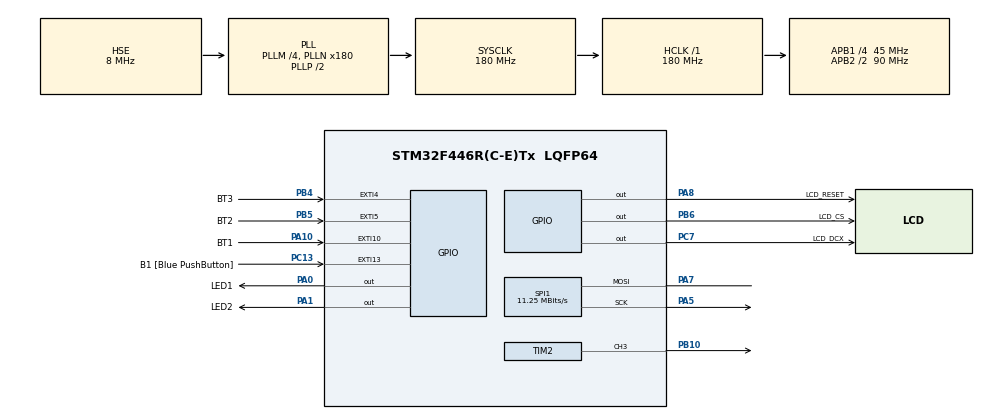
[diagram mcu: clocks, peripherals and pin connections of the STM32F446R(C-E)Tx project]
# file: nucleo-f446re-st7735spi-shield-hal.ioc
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Mcu.Family=STM32F4
Mcu.Name=STM32F446R(C-E)Tx
Mcu.Package=LQFP64
NVIC.EXTI15_10_IRQn=true\:0\:0\:false\:false\:true\:true\:true
NVIC.EXTI4_IRQn=true\:0\:0\:false\:false\:true\:true\:true
NVIC.EXTI9_5_IRQn=true\:0\:0\:false\:false\:true\:true\:true
NVIC.PriorityGroup=NVIC_PRIORITYGROUP_0
NVIC.TIM3_IRQn=true\:0\:0\:false\:false\:true\:true\:true
PA0-WKUP.GPIO_Label=LED1
PA0-WKUP.Signal=GPIO_Output
PA1.GPIO_Label=LED2
PA1.Signal=GPIO_Output
PA10.GPIO_Label=BT1
PA10.GPIO_ModeDefaultEXTI=GPIO_MODE_IT_FALLING
PA10.Signal=GPXTI10
PA13.GPIO_Label=TMS
PA13.Mode=Serial_Wire
PA13.Signal=SYS_JTMS-SWDIO
PA14.GPIO_Label=TCK
PA14.Mode=Serial_Wire
PA14.Signal=SYS_JTCK-SWCLK
PA5.Mode=Simplex_Bidirectional_Master
PA5.Signal=SPI1_SCK
PA7.Mode=Simplex_Bidirectional_Master
PA7.Signal=SPI1_MOSI
PA8.GPIO_Label=LCD_RESET
PA8.PinState=GPIO_PIN_SET
PA8.Signal=GPIO_Output
PB10.GPIO_Speed=GPIO_SPEED_FREQ_VERY_HIGH
PB10.Signal=S_TIM2_CH3
PB3.GPIO_Label=SWO
PB3.Signal=SYS_JTDO-SWO
PB4.GPIO_Label=BT3
PB4.GPIO_ModeDefaultEXTI=GPIO_MODE_IT_FALLING
PB4.Signal=GPXTI4
PB5.GPIO_Label=BT2
PB5.GPIO_ModeDefaultEXTI=GPIO_MODE_IT_FALLING
PB5.Signal=GPXTI5
PB6.GPIO_Label=LCD_CS
PB6.GPIO_Speed=GPIO_SPEED_FREQ_VERY_HIGH
PB6.PinState=GPIO_PIN_SET
PB6.Signal=GPIO_Output
PC13.GPIO_Label=B1 [Blue PushButton]
PC13.GPIO_ModeDefaultEXTI=GPIO_MODE_IT_FALLING
PC13.Signal=GPXTI13
PC14-OSC32_IN.Mode=LSE-External-Oscillator
PC14-OSC32_IN.Signal=RCC_OSC32_IN
PC15-OSC32_OUT.Mode=LSE-External-Oscillator
PC15-OSC32_OUT.Signal=RCC_OSC32_OUT
PC7.GPIO_Label=LCD_DCX
PC7.GPIO_Speed=GPIO_SPEED_FREQ_VERY_HIGH
PC7.PinState=GPIO_PIN_SET
PC7.Signal=GPIO_Output
PH0-OSC_IN.Mode=HSE-External-Oscillator
PH0-OSC_IN.Signal=RCC_OSC_IN
PH1-OSC_OUT.Mode=HSE-External-Oscillator
PH1-OSC_OUT.Signal=RCC_OSC_OUT
ProjectManager.HeapSize=0x200
ProjectManager.StackSize=0x400
ProjectManager.TargetToolchain=STM32CubeIDE
RCC.48MHZClocksFreq_Value=84000000
RCC.AHBFreq_Value=180000000
RCC.APB1CLKDivider=RCC_HCLK_DIV4
RCC.APB1Freq_Value=45000000
RCC.APB1TimFreq_Value=90000000
RCC.APB2CLKDivider=RCC_HCLK_DIV2
RCC.APB2Freq_Value=90000000
RCC.APB2TimFreq_Value=180000000
RCC.CortexFreq_Value=180000000
RCC.FLatency-AdvancedSettings=FLASH_LATENCY_5
RCC.HCLKFreq_Value=180000000
RCC.HSE_VALUE=8000000
RCC.HSI_VALUE=16000000
RCC.PLLM=4
RCC.PLLN=180
RCC.PLLSourceVirtual=RCC_PLLSOURCE_HSE
RCC.SYSCLKFreq_VALUE=180000000
RCC.SYSCLKSource=RCC_SYSCLKSOURCE_PLLCLK
RCC.USBFreq_Value=180000000
RCC.VCOOutputFreq_Value=360000000
SH.S_TIM2_CH3.0=TIM2_CH3,PWM Generation3 CH3
SPI1.BaudRatePrescaler=SPI_BAUDRATEPRESCALER_8
SPI1.CalculateBaudRate=11.25 MBits/s
SPI1.Direction=SPI_DIRECTION_1LINE
SPI1.Mode=SPI_MODE_MASTER
SPI1.VirtualType=VM_MASTER
TIM2.Channel-PWM\ Generation3\ CH3=TIM_CHANNEL_3
TIM2.OCPolarity_3=TIM_OCPOLARITY_LOW
TIM2.Period=1000
TIM2.Pulse-PWM\ Generation3\ CH3=50
TIM3.Period=999
TIM3.Prescaler=17999
VP_TIM2_VS_ClockSourceINT.Mode=Internal
VP_TIM3_VS_ClockSourceINT.Mode=Internal
board=NUCLEO-F446RE

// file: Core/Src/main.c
/* USER CODE BEGIN Header */
/**
  ******************************************************************************
  * @file           : main.c
  * @brief          : Main program body
  ******************************************************************************
  * @attention
  *
  * <h2><center>&copy; Copyright (c) 2021 STMicroelectronics.
  * All rights reserved.</center></h2>
  *
  * This software component is licensed by ST under BSD 3-Clause license,
  * the "License"; You may not use this file except in compliance with the
  * License. You may obtain a copy of the License at:
  *                        opensource.org/licenses/BSD-3-Clause
  *
  ******************************************************************************
  */
/* USER CODE END Header */
#include "main.h"

/* USER CODE BEGIN Includes */

#include "st7735_halspi.h"
#include "st7735_cmds.h"
#include <stdlib.h>
#include <string.h>
#include <stdio.h>

#include "gfx.h"

#include "app_state.h"
#include "form_defs.h"

#include "form_test_text.h"
#include "form_test_text_ru.h"
#include "form_test_image_wb.h"
#include "form_bench.h"

/* USER CODE END Includes */

/* USER CODE BEGIN PTD */

struct op_status
{
	volatile uint8_t button_code;
	volatile uint8_t status;
};

/* USER CODE END PTD */

/* USER CODE BEGIN PD */

#if LCD_COLOR_FORMAT == COLOR_FORMAT_INDEX1BPP
#define LCD1_BUFFER_SZ		2673			// 132x162 @ 1bpp
#elif LCD_COLOR_FORMAT == COLOR_FORMAT_INDEX4BPP
#define LCD1_BUFFER_SZ		10692			// 132x162 @ 4bpp
#elif LCD_COLOR_FORMAT == COLOR_FORMAT_INDEX8BPP
#define LCD1_BUFFER_SZ		21384			// 132x162 @ 8bpp
#elif LCD_COLOR_FORMAT == COLOR_FORMAT_RGB565
#define LCD1_BUFFER_SZ		42768			// 132x162 @ 16bpp
#elif LCD_COLOR_FORMAT == COLOR_FORMAT_RGB888
#define LCD1_BUFFER_SZ		64152			// 132x162 @ 24bpp
#else
#error Invalid color format value!
#endif

#define STATUS_BTN_RDY_Pos			0							// button ready flag
#define STATUS_BTN_RDY_Msk			(1 << STATUS_BTN_RDY_Pos)
#define STATUS_BTN_CPT_BT1_Pos		1							// BT1 capture flag
#define STATUS_BTN_CPT_BT1_Msk		(1 << STATUS_BTN_CPT_BT1_Pos)
#define STATUS_BTN_CPT_BT2_Pos		2							// BT2 capture flag
#define STATUS_BTN_CPT_BT2_Msk		(1 << STATUS_BTN_CPT_BT2_Pos)
#define STATUS_BTN_CPT_BT3_Pos		3							// BT3 capture flag
#define STATUS_BTN_CPT_BT3_Msk		(1 << STATUS_BTN_CPT_BT3_Pos)
#define STATUS_BTN_CPT_Msk			(STATUS_BTN_CPT_BT1_Msk | STATUS_BTN_CPT_BT2_Msk | STATUS_BTN_CPT_BT3_Msk)
#define STATUS_BTN_PRE_Pos			4							// button pressed flag
#define STATUS_BTN_PRE_Msk			(1 << STATUS_BTN_PRE_Pos)
#define STATUS_BTN_REP_Pos			5							// button repeat flag
#define STATUS_BTN_REP_Msk			(1 << STATUS_BTN_REP_Pos)
//#define STATUS_RTC_TO_Pos			7							// RTC timeout flag
//#define STATUS_RTC_TO_Msk			(1 << STATUS_RTC_TO_Pos)

/* USER CODE END PD */

SPI_HandleTypeDef hspi1;

TIM_HandleTypeDef htim2;
TIM_HandleTypeDef htim3;

/* USER CODE BEGIN PV */

#if RGBCOLOR_AS_NUMBER==1

#if LCD_COLOR_FORMAT == COLOR_FORMAT_INDEX1BPP

static const RGBColor lcd1_1bpp_palette[2] = 	// 1bpp palette for LCD
{
	0xFF000000,			// 0 - black
	0xFFFFFFFF,			// 1 - white
};

#elif LCD_COLOR_FORMAT == COLOR_FORMAT_INDEX4BPP

static const RGBColor lcd1_4bpp_palette[16] = 	// 4bpp palette for LCD
{
	// Standard VGA 16 color palette
	0xFF000000,			// 0  - black
	0xFF0000AA,			// 1  - blue
	0xFF00AA00,			// 2  - green
	0xFF00AAAA,			// 3  - cyan
	0xFFAA0000,			// 4  - red
	0xFFAA00AA,			// 5  - magenta
	0xFFAA5500,			// 6  - brown
	0xFFAAAAAA,			// 7  - gray
	0xFF555555,			// 8  - dark gray
	0xFF5555FF,			// 9  - bright blue
	0xFF55FF55,			// 10 - bright green
	0xFF55FFFF,			// 11 - bright cyan
	0xFFFF5555,			// 12 - bright red
	0xFFFF55FF,			// 13 - bright magenta
	0xFFFFFF55,			// 14 - yellow
	0xFFFFFFFF,			// 15 - white
};		// 64 bytes

#elif LCD_COLOR_FORMAT == COLOR_FORMAT_INDEX8BPP

static const RGBColor lcd1_8bpp_palette[256] = 	// 8bpp palette for LCD
{
	// Standard VGA 256 color palette
	// row 0 (R)
	0xFF000000,	// 0  - black
	0xFF0000AA,	// 1  - blue
	0xFF00AA00,	// 2  - green
	0xFF00AAAA,	// 3  - cyan
	0xFFAA0000,	// 4  - red
	0xFFAA00AA,	// 5  - magenta
	0xFFAA5500,	// 6  - brown
	0xFFAAAAAA,	// 7  - gray
	0xFF555555,	// 8  - dark gray
	0xFF5555FF,	// 9  - bright blue
	0xFF55FF55,	// 10 - bright green
	0xFF55FFFF,	// 11 - bright cyan
	0xFFFF5555,	// 12 - bright red
	0xFFFF55FF,	// 13 - bright magenta
	0xFFFFFF55,	// 14 - yellow
	0xFFFFFFFF,	// 15 - white
	// row 1, gray
	0xFF000000,	// 0, 16
	0xFF141414,	// 1, 17
	0xFF202020,	// 2, 18
	0xFF303030,	// 3, 19
	0xFF383838,	// 4, 20
	0xFF444444,	// 5, 21
	0xFF505050,	// 6, 22
	0xFF606060,	// 7, 23
	0xFF707070,	// 8, 24
	0xFF808080,	// 9, 25
	0xFF909090,	// 10,26
	0xFFA0A0A0,	// 11,27
	0xFFB4B4B4,	// 12,28
	0xFFC8C8C8,	// 13,29
	0xFFE0E0E0,	// 14,30
	0xFFFFFFFF,	// 15,31
	// row 2 (R)
	0xFF0000FF,	// 0, 32
	0xFF4000FF,	// 1, 33
	0xFF8000FF,	// 2, 34
	0xFFC000FF,	// 3, 35
	0xFFFF00FF,	// 4, 36
	0xFFFF00C0,	// 5, 37
	0xFFFF0080,	// 6, 38
	0xFFFF0040,	// 7, 39
	0xFFFF0000,	// 8, 40
	0xFFFF4000,	// 9, 41
	0xFFFF8000,	// 10,42
	0xFFFFC000,	// 11,43
	0xFFFFFF00,	// 12,44
	0xFFC0FF00,	// 13,45
	0xFF80FF00,	// 14,46
	0xFF40FF00,	// 15,47
	// row 3 (R)
	0xFF00FF00,	// 0, 48
	0xFF00FF40,	// 1, 49
	0xFF00FF80,	// 2, 50
	0xFF00FFC0,	// 3, 51
	0xFF00FFFF,	// 4, 52
	0xFF00C0FF,	// 5, 53
	0xFF0080FF,	// 6, 54
	0xFF0040FF,	// 7, 55
	0xFF8080FF,	// 8, 56
	0xFFA080FF,	// 9, 57
	0xFFC080FF,	// 10,58
	0xFFE080FF,	// 11,59
	0xFFFF80FF,	// 12,60
	0xFFFF80E0,	// 13,61
	0xFFFF80C0,	// 14,62
	0xFFFF80A0,	// 15,63
	// row 4 (R)
	0xFFFF8080,	// 0, 64
	0xFFFFA080,	// 1, 65
	0xFFFFC080,	// 2, 66
	0xFFFFE080,	// 3, 67
	0xFFFFFF80,	// 4, 68
	0xFFE0FF80,	// 5, 69
	0xFFC0FF80,	// 6, 70
	0xFFA0FF80,	// 7, 71
	0xFF80FF80,	// 8, 72
	0xFF80FFA0,	// 9, 73
	0xFF80FFC0,	// 10,74
	0xFF80FFE0,	// 11,75
	0xFF80FFFF,	// 12,76
	0xFF80E0FF,	// 13,77
	0xFF80C0FF,	// 14,78
	0xFF80A0FF,	// 15,79
	// row 5 (R)
	0xFFB4B4FF,	// 0, 80
	0xFFC4B4FF,	// 1, 81
	0xFFD8B4FF,	// 2, 82
	0xFFE8B4FF,	// 3, 83
	0xFFFFB4FF,	// 4, 84
	0xFFFFB4E8,	// 5, 85
	0xFFFFB4D8,	// 6, 86
	0xFFFFB4C4,	// 7, 87
	0xFFFFB4B4,	// 8, 88
	0xFFFFC4B4,	// 9, 89
	0xFFFFD8B4,	// 10,90
	0xFFFFE8B4,	// 11,91
	0xFFFFFFB4,	// 12,92
	0xFFE8FFB4,	// 13,93
	0xFFD8FFB4,	// 14,94
	0xFFC4FFB4,	// 15,95
	// row 6 (R)
	0xFFB4FFB4,	// 0, 96
	0xFFB4FFC4,	// 1, 97
	0xFFB4FFD8,	// 2, 98
	0xFFB4FFE8,	// 3, 99
	0xFFB4FFFF,	// 4, 100
	0xFFB4E8FF,	// 5, 101
	0xFFB4D8FF,	// 6, 102
	0xFFB4C4FF,	// 7, 103
	0xFF000070,	// 8, 104
	0xFF200070,	// 9, 105
	0xFF380070,	// 10,106
	0xFF540070,	// 11,107
	0xFF700070,	// 12,108
	0xFF700054,	// 13,109
	0xFF700038,	// 14,110
	0xFF700020,	// 15,111
	// row 7 (R)
	0xFF700000,	// 0, 112
	0xFF702000,	// 1, 113
	0xFF703800,	// 2, 114
	0xFF705400,	// 3, 115
	0xFF707000,	// 4, 116
	0xFF547000,	// 5, 117
	0xFF387000,	// 6, 118
	0xFF207000,	// 7, 119
	0xFF007000,	// 8, 120
	0xFF007020,	// 9, 121
	0xFF007038,	// 10,122
	0xFF007054,	// 11,123
	0xFF007070,	// 12,124
	0xFF005470,	// 13,125
	0xFF003870,	// 14,126
	0xFF002070,	// 15,127
	// row 8 (R)
	0xFF383870,	// 0, 128
	0xFF443870,	// 1, 129
	0xFF543870,	// 2, 130
	0xFF603870,	// 3, 131
	0xFF703870,	// 4, 132
	0xFF703860,	// 5, 133
	0xFF703854,	// 6, 134
	0xFF703844,	// 7, 135
	0xFF703838,	// 8, 136
	0xFF704438,	// 9, 137
	0xFF705438,	// 10,138
	0xFF706038,	// 11,139
	0xFF707038,	// 12,140
	0xFF607038,	// 13,141
	0xFF547038,	// 14,142
	0xFF447038,	// 15,143
	// row 9 (R)
	0xFF387038,	// 0, 144
	0xFF387044,	// 1, 145
	0xFF387054,	// 2, 145
	0xFF387060,	// 3, 147
	0xFF387070,	// 4, 148
	0xFF386070,	// 5, 149
	0xFF385470,	// 6, 150
	0xFF384470,	// 7, 151
	0xFF505070,	// 8, 152
	0xFF585070,	// 9, 153
	0xFF605070,	// 10,154
	0xFF685070,	// 11,155
	0xFF705070,	// 12,156
	0xFF705068,	// 13,157
	0xFF705060,	// 14,158
	0xFF705058,	// 15,159
	// row 10 (R)
	0xFF705050,	// 0, 160
	0xFF705850,	// 1, 161
	0xFF706050,	// 2, 162
	0xFF706850,	// 3, 163
	0xFF707050,	// 4, 164
	0xFF687050,	// 5, 165
	0xFF607050,	// 6, 166
	0xFF587050,	// 7, 167
	0xFF507050,	// 8, 168
	0xFF507058,	// 9, 169
	0xFF507060,	// 10,170
	0xFF507068,	// 11,171
	0xFF507070,	// 12,172
	0xFF506870,	// 13,173
	0xFF506070,	// 14,174
	0xFF505870,	// 15,175
	// row 11 (R)
	0xFF000040,	// 0, 176
	0xFF100040,	// 1, 177
	0xFF200040,	// 2, 178
	0xFF300040,	// 3, 179
	0xFF400040,	// 4, 180
	0xFF400030,	// 5, 181
	0xFF400020,	// 6, 182
	0xFF400010,	// 7, 183
	0xFF400000,	// 8, 184
	0xFF401000,	// 9, 185
	0xFF402000,	// 10,186
	0xFF403000,	// 11,187
	0xFF404000,	// 12,188
	0xFF304000,	// 13,189
	0xFF204000,	// 14,190
	0xFF104000,	// 15,191
	// row 12 (R)
	0xFF004000,	// 0, 192
	0xFF004010,	// 1, 193
	0xFF004020,	// 2, 194
	0xFF004030,	// 3, 195
	0xFF004040,	// 4, 196
	0xFF003040,	// 5, 197
	0xFF002040,	// 6, 198
	0xFF001040,	// 7, 199
	0xFF202040,	// 8, 200
	0xFF282040,	// 9, 201
	0xFF302040,	// 10,202
	0xFF382040,	// 11,203
	0xFF402040,	// 12,204
	0xFF402038,	// 13,205
	0xFF402030,	// 14,206
	0xFF402028,	// 15,207
	// row 13 (R)
	0xFF402020,	// 0, 208
	0xFF402820,	// 1, 209
	0xFF403020,	// 2, 210
	0xFF403820,	// 3, 211
	0xFF404020,	// 4, 212
	0xFF384020,	// 5, 213
	0xFF304020,	// 6, 214
	0xFF284020,	// 7, 215
	0xFF204020,	// 8, 216
	0xFF204028,	// 9, 217
	0xFF204030,	// 10,218
	0xFF204038,	// 11,219
	0xFF204040,	// 12,220
	0xFF203840,	// 13,221
	0xFF203040,	// 14,222
	0xFF202840,	// 15,223
	// row 14 (R)
	0xFF2C2C40,	// 0, 224
	0xFF302C40,	// 1, 225
	0xFF342C40,	// 2, 226
	0xFF3C2C40,	// 3, 227
	0xFF402C40,	// 4, 228
	0xFF402C3C,	// 5, 229
	0xFF402C34,	// 6, 230
	0xFF402C30,	// 7, 231
	0xFF402C2C,	// 8, 232
	0xFF40302C,	// 9, 233
	0xFF40342C,	// 10,234
	0xFF403C2C,	// 11,235
	0xFF40402C,	// 12,236
	0xFF3C402C,	// 13,237
	0xFF34402C,	// 14,238
	0xFF30402C,	// 15,239
	// row 15 (R)
	0xFF2C402C,	// 0, 240
	0xFF2C4030,	// 1, 241
	0xFF2C4034,	// 2, 242
	0xFF2C403C,	// 3, 243
	0xFF2C4040,	// 4, 244
	0xFF2C3C40,	// 5, 245
	0xFF2C3440,	// 6, 246
	0xFF000000,	// 7, 247
	0xFF000000,	// 8, 248 - black
	0xFF000000,	// 9, 249 - black
	0xFF000000,	// 10,250 - black
	0xFF000000,	// 11,251 - black
	0xFF000000,	// 12,252 - black
	0xFF000000,	// 13,253 - black
	0xFF000000,	// 14,254 - black
	0xFF000000,	// 15,255 - black
};

#endif	// LCD_COLOR_FORMAT

#else	// RGBCOLOR_AS_NUMBER==1

#if LCD_COLOR_FORMAT == COLOR_FORMAT_INDEX1BPP

static const RGBColor lcd1_1bpp_palette[2] = 	// 1bpp palette for LCD
{
	{ 0x00, 0x00, 0x00 },	// 0  - black
	{ 0xFF, 0xFF, 0xFF },	// 1  - white
};		// 6 bytes

#elif LCD_COLOR_FORMAT == COLOR_FORMAT_INDEX4BPP

static const RGBColor lcd1_4bpp_palette[16] = 	// 4bpp palette for LCD
{
	// Standard VGA 16 color palette
	{ 0x00, 0x00, 0x00 },	// 0  - black
	{ 0x00, 0x00, 0xAA },	// 1  - blue
	{ 0x00, 0xAA, 0x00 },	// 2  - green
	{ 0x00, 0xAA, 0xAA },	// 3  - cyan
	{ 0xAA, 0x00, 0x00 },	// 4  - red
	{ 0xAA, 0x00, 0xAA },	// 5  - magenta
	{ 0xAA, 0x55, 0x00 },	// 6  - brown
	{ 0xAA, 0xAA, 0xAA },	// 7  - gray
	{ 0x55, 0x55, 0x55 },	// 8  - dark gray
	{ 0x55, 0x55, 0xFF },	// 9  - bright blue
	{ 0x55, 0xFF, 0x55 },	// 10 - bright green
	{ 0x55, 0xFF, 0xFF },	// 11 - bright cyan
	{ 0xFF, 0x55, 0x55 },	// 12 - bright red
	{ 0xFF, 0x55, 0xFF },	// 13 - bright magenta
	{ 0xFF, 0xFF, 0x55 },	// 14 - yellow
	{ 0xFF, 0xFF, 0xFF },	// 15 - white
};		// 48 bytes

#elif LCD_COLOR_FORMAT == COLOR_FORMAT_INDEX8BPP

static const RGBColor lcd1_8bpp_palette[256] = 	// 8bpp palette for LCD
{
	// Standard VGA 256 color palette
	// row 0 (R)
	{ 0x00, 0x00, 0x00 },	// 0  - black
	{ 0x00, 0x00, 0xAA },	// 1  - blue
	{ 0x00, 0xAA, 0x00 },	// 2  - green
	{ 0x00, 0xAA, 0xAA },	// 3  - cyan
	{ 0xAA, 0x00, 0x00 },	// 4  - red
	{ 0xAA, 0x00, 0xAA },	// 5  - magenta
	{ 0xAA, 0x55, 0x00 },	// 6  - brown
	{ 0xAA, 0xAA, 0xAA },	// 7  - gray
	{ 0x55, 0x55, 0x55 },	// 8  - dark gray
	{ 0x55, 0x55, 0xFF },	// 9  - bright blue
	{ 0x55, 0xFF, 0x55 },	// 10 - bright green
	{ 0x55, 0xFF, 0xFF },	// 11 - bright cyan
	{ 0xFF, 0x55, 0x55 },	// 12 - bright red
	{ 0xFF, 0x55, 0xFF },	// 13 - bright magenta
	{ 0xFF, 0xFF, 0x55 },	// 14 - yellow
	{ 0xFF, 0xFF, 0xFF },	// 15 - white
	// row 1, gray
	{ 0x00, 0x00, 0x00 },	// 0, 16
	{ 0x14, 0x14, 0x14 },	// 1, 17
	{ 0x20, 0x20, 0x20 },	// 2, 18
	{ 0x30, 0x30, 0x30 },	// 3, 19
	{ 0x38, 0x38, 0x38 },	// 4, 20
	{ 0x44, 0x44, 0x44 },	// 5, 21
	{ 0x50, 0x50, 0x50 },	// 6, 22
	{ 0x60, 0x60, 0x60 },	// 7, 23
	{ 0x70, 0x70, 0x70 },	// 8, 24
	{ 0x80, 0x80, 0x80 },	// 9, 25
	{ 0x90, 0x90, 0x90 },	// 10,26
	{ 0xA0, 0xA0, 0xA0 },	// 11,27
	{ 0xB4, 0xB4, 0xB4 },	// 12,28
	{ 0xC8, 0xC8, 0xC8 },	// 13,29
	{ 0xE0, 0xE0, 0xE0 },	// 14,30
	{ 0xFF, 0xFF, 0xFF },	// 15,31
	// row 2 (R)
	{ 0x00, 0x00, 0xFF },	// 0, 32
	{ 0x40, 0x00, 0xFF },	// 1, 33
	{ 0x80, 0x00, 0xFF },	// 2, 34
	{ 0xC0, 0x00, 0xFF },	// 3, 35
	{ 0xFF, 0x00, 0xFF },	// 4, 36
	{ 0xFF, 0x00, 0xC0 },	// 5, 37
	{ 0xFF, 0x00, 0x80 },	// 6, 38
	{ 0xFF, 0x00, 0x40 },	// 7, 39
	{ 0xFF, 0x00, 0x00 },	// 8, 40
	{ 0xFF, 0x40, 0x00 },	// 9, 41
	{ 0xFF, 0x80, 0x00 },	// 10,42
	{ 0xFF, 0xC0, 0x00 },	// 11,43
	{ 0xFF, 0xFF, 0x00 },	// 12,44
	{ 0xC0, 0xFF, 0x00 },	// 13,45
	{ 0x80, 0xFF, 0x00 },	// 14,46
	{ 0x40, 0xFF, 0x00 },	// 15,47
	// row 3 (R)
	{ 0x00, 0xFF, 0x00 },	// 0, 48
	{ 0x00, 0xFF, 0x40 },	// 1, 49
	{ 0x00, 0xFF, 0x80 },	// 2, 50
	{ 0x00, 0xFF, 0xC0 },	// 3, 51
	{ 0x00, 0xFF, 0xFF },	// 4, 52
	{ 0x00, 0xC0, 0xFF },	// 5, 53
	{ 0x00, 0x80, 0xFF },	// 6, 54
	{ 0x00, 0x40, 0xFF },	// 7, 55
	{ 0x80, 0x80, 0xFF },	// 8, 56
	{ 0xA0, 0x80, 0xFF },	// 9, 57
	{ 0xC0, 0x80, 0xFF },	// 10,58
	{ 0xE0, 0x80, 0xFF },	// 11,59
	{ 0xFF, 0x80, 0xFF },	// 12,60
	{ 0xFF, 0x80, 0xE0 },	// 13,61
	{ 0xFF, 0x80, 0xC0 },	// 14,62
	{ 0xFF, 0x80, 0xA0 },	// 15,63
	// row 4 (R)
	{ 0xFF, 0x80, 0x80 },	// 0, 64
	{ 0xFF, 0xA0, 0x80 },	// 1, 65
	{ 0xFF, 0xC0, 0x80 },	// 2, 66
	{ 0xFF, 0xE0, 0x80 },	// 3, 67
	{ 0xFF, 0xFF, 0x80 },	// 4, 68
	{ 0xE0, 0xFF, 0x80 },	// 5, 69
	{ 0xC0, 0xFF, 0x80 },	// 6, 70
	{ 0xA0, 0xFF, 0x80 },	// 7, 71
	{ 0x80, 0xFF, 0x80 },	// 8, 72
	{ 0x80, 0xFF, 0xA0 },	// 9, 73
	{ 0x80, 0xFF, 0xC0 },	// 10,74
	{ 0x80, 0xFF, 0xE0 },	// 11,75
	{ 0x80, 0xFF, 0xFF },	// 12,76
	{ 0x80, 0xE0, 0xFF },	// 13,77
	{ 0x80, 0xC0, 0xFF },	// 14,78
	{ 0x80, 0xA0, 0xFF },	// 15,79
	// row 5 (R)
	{ 0xB4, 0xB4, 0xFF },	// 0, 80
	{ 0xC4, 0xB4, 0xFF },	// 1, 81
	{ 0xD8, 0xB4, 0xFF },	// 2, 82
	{ 0xE8, 0xB4, 0xFF },	// 3, 83
	{ 0xFF, 0xB4, 0xFF },	// 4, 84
	{ 0xFF, 0xB4, 0xE8 },	// 5, 85
	{ 0xFF, 0xB4, 0xD8 },	// 6, 86
	{ 0xFF, 0xB4, 0xC4 },	// 7, 87
	{ 0xFF, 0xB4, 0xB4 },	// 8, 88
	{ 0xFF, 0xC4, 0xB4 },	// 9, 89
	{ 0xFF, 0xD8, 0xB4 },	// 10,90
	{ 0xFF, 0xE8, 0xB4 },	// 11,91
	{ 0xFF, 0xFF, 0xB4 },	// 12,92
	{ 0xE8, 0xFF, 0xB4 },	// 13,93
	{ 0xD8, 0xFF, 0xB4 },	// 14,94
	{ 0xC4, 0xFF, 0xB4 },	// 15,95
	// row 6 (R)
	{ 0xB4, 0xFF, 0xB4 },	// 0, 96
	{ 0xB4, 0xFF, 0xC4 },	// 1, 97
	{ 0xB4, 0xFF, 0xD8 },	// 2, 98
	{ 0xB4, 0xFF, 0xE8 },	// 3, 99
	{ 0xB4, 0xFF, 0xFF },	// 4, 100
	{ 0xB4, 0xE8, 0xFF },	// 5, 101
	{ 0xB4, 0xD8, 0xFF },	// 6, 102
	{ 0xB4, 0xC4, 0xFF },	// 7, 103
	{ 0x00, 0x00, 0x70 },	// 8, 104
	{ 0x20, 0x00, 0x70 },	// 9, 105
	{ 0x38, 0x00, 0x70 },	// 10,106
	{ 0x54, 0x00, 0x70 },	// 11,107
	{ 0x70, 0x00, 0x70 },	// 12,108
	{ 0x70, 0x00, 0x54 },	// 13,109
	{ 0x70, 0x00, 0x38 },	// 14,110
	{ 0x70, 0x00, 0x20 },	// 15,111
	// row 7 (R)
	{ 0x70, 0x00, 0x00 },	// 0, 112
	{ 0x70, 0x20, 0x00 },	// 1, 113
	{ 0x70, 0x38, 0x00 },	// 2, 114
	{ 0x70, 0x54, 0x00 },	// 3, 115
	{ 0x70, 0x70, 0x00 },	// 4, 116
	{ 0x54, 0x70, 0x00 },	// 5, 117
	{ 0x38, 0x70, 0x00 },	// 6, 118
	{ 0x20, 0x70, 0x00 },	// 7, 119
	{ 0x00, 0x70, 0x00 },	// 8, 120
	{ 0x00, 0x70, 0x20 },	// 9, 121
	{ 0x00, 0x70, 0x38 },	// 10,122
	{ 0x00, 0x70, 0x54 },	// 11,123
	{ 0x00, 0x70, 0x70 },	// 12,124
	{ 0x00, 0x54, 0x70 },	// 13,125
	{ 0x00, 0x38, 0x70 },	// 14,126
	{ 0x00, 0x20, 0x70 },	// 15,127
	// row 8 (R)
	{ 0x38, 0x38, 0x70 },	// 0, 128
	{ 0x44, 0x38, 0x70 },	// 1, 129
	{ 0x54, 0x38, 0x70 },	// 2, 130
	{ 0x60, 0x38, 0x70 },	// 3, 131
	{ 0x70, 0x38, 0x70 },	// 4, 132
	{ 0x70, 0x38, 0x60 },	// 5, 133
	{ 0x70, 0x38, 0x54 },	// 6, 134
	{ 0x70, 0x38, 0x44 },	// 7, 135
	{ 0x70, 0x38, 0x38 },	// 8, 136
	{ 0x70, 0x44, 0x38 },	// 9, 137
	{ 0x70, 0x54, 0x38 },	// 10,138
	{ 0x70, 0x60, 0x38 },	// 11,139
	{ 0x70, 0x70, 0x38 },	// 12,140
	{ 0x60, 0x70, 0x38 },	// 13,141
	{ 0x54, 0x70, 0x38 },	// 14,142
	{ 0x44, 0x70, 0x38 },	// 15,143
	// row 9 (R)
	{ 0x38, 0x70, 0x38 },	// 0, 144
	{ 0x38, 0x70, 0x44 },	// 1, 145
	{ 0x38, 0x70, 0x54 },	// 2, 145
	{ 0x38, 0x70, 0x60 },	// 3, 147
	{ 0x38, 0x70, 0x70 },	// 4, 148
	{ 0x38, 0x60, 0x70 },	// 5, 149
	{ 0x38, 0x54, 0x70 },	// 6, 150
	{ 0x38, 0x44, 0x70 },	// 7, 151
	{ 0x50, 0x50, 0x70 },	// 8, 152
	{ 0x58, 0x50, 0x70 },	// 9, 153
	{ 0x60, 0x50, 0x70 },	// 10,154
	{ 0x68, 0x50, 0x70 },	// 11,155
	{ 0x70, 0x50, 0x70 },	// 12,156
	{ 0x70, 0x50, 0x68 },	// 13,157
	{ 0x70, 0x50, 0x60 },	// 14,158
	{ 0x70, 0x50, 0x58 },	// 15,159
	// row 10 (R)
	{ 0x70, 0x50, 0x50 },	// 0, 160
	{ 0x70, 0x58, 0x50 },	// 1, 161
	{ 0x70, 0x60, 0x50 },	// 2, 162
	{ 0x70, 0x68, 0x50 },	// 3, 163
	{ 0x70, 0x70, 0x50 },	// 4, 164
	{ 0x68, 0x70, 0x50 },	// 5, 165
	{ 0x60, 0x70, 0x50 },	// 6, 166
	{ 0x58, 0x70, 0x50 },	// 7, 167
	{ 0x50, 0x70, 0x50 },	// 8, 168
	{ 0x50, 0x70, 0x58 },	// 9, 169
	{ 0x50, 0x70, 0x60 },	// 10,170
	{ 0x50, 0x70, 0x68 },	// 11,171
	{ 0x50, 0x70, 0x70 },	// 12,172
	{ 0x50, 0x68, 0x70 },	// 13,173
	{ 0x50, 0x60, 0x70 },	// 14,174
	{ 0x50, 0x58, 0x70 },	// 15,175
	// row 11 (R)
	{ 0x00, 0x00, 0x40 },	// 0, 176
	{ 0x10, 0x00, 0x40 },	// 1, 177
	{ 0x20, 0x00, 0x40 },	// 2, 178
	{ 0x30, 0x00, 0x40 },	// 3, 179
	{ 0x40, 0x00, 0x40 },	// 4, 180
	{ 0x40, 0x00, 0x30 },	// 5, 181
	{ 0x40, 0x00, 0x20 },	// 6, 182
	{ 0x40, 0x00, 0x10 },	// 7, 183
	{ 0x40, 0x00, 0x00 },	// 8, 184
	{ 0x40, 0x10, 0x00 },	// 9, 185
	{ 0x40, 0x20, 0x00 },	// 10,186
	{ 0x40, 0x30, 0x00 },	// 11,187
	{ 0x40, 0x40, 0x00 },	// 12,188
	{ 0x30, 0x40, 0x00 },	// 13,189
	{ 0x20, 0x40, 0x00 },	// 14,190
	{ 0x10, 0x40, 0x00 },	// 15,191
	// row 12 (R)
	{ 0x00, 0x40, 0x00 },	// 0, 192
	{ 0x00, 0x40, 0x10 },	// 1, 193
	{ 0x00, 0x40, 0x20 },	// 2, 194
	{ 0x00, 0x40, 0x30 },	// 3, 195
	{ 0x00, 0x40, 0x40 },	// 4, 196
	{ 0x00, 0x30, 0x40 },	// 5, 197
	{ 0x00, 0x20, 0x40 },	// 6, 198
	{ 0x00, 0x10, 0x40 },	// 7, 199
	{ 0x20, 0x20, 0x40 },	// 8, 200
	{ 0x28, 0x20, 0x40 },	// 9, 201
	{ 0x30, 0x20, 0x40 },	// 10,202
	{ 0x38, 0x20, 0x40 },	// 11,203
	{ 0x40, 0x20, 0x40 },	// 12,204
	{ 0x40, 0x20, 0x38 },	// 13,205
	{ 0x40, 0x20, 0x30 },	// 14,206
	{ 0x40, 0x20, 0x28 },	// 15,207
	// row 13 (R)
	{ 0x40, 0x20, 0x20 },	// 0, 208
	{ 0x40, 0x28, 0x20 },	// 1, 209
	{ 0x40, 0x30, 0x20 },	// 2, 210
	{ 0x40, 0x38, 0x20 },	// 3, 211
	{ 0x40, 0x40, 0x20 },	// 4, 212
	{ 0x38, 0x40, 0x20 },	// 5, 213
	{ 0x30, 0x40, 0x20 },	// 6, 214
	{ 0x28, 0x40, 0x20 },	// 7, 215
	{ 0x20, 0x40, 0x20 },	// 8, 216
	{ 0x20, 0x40, 0x28 },	// 9, 217
	{ 0x20, 0x40, 0x30 },	// 10,218
	{ 0x20, 0x40, 0x38 },	// 11,219
	{ 0x20, 0x40, 0x40 },	// 12,220
	{ 0x20, 0x38, 0x40 },	// 13,221
	{ 0x20, 0x30, 0x40 },	// 14,222
	{ 0x20, 0x28, 0x40 },	// 15,223
	// row 14 (R)
	{ 0x2C, 0x2C, 0x40 },	// 0, 224
	{ 0x30, 0x2C, 0x40 },	// 1, 225
	{ 0x34, 0x2C, 0x40 },	// 2, 226
	{ 0x3C, 0x2C, 0x40 },	// 3, 227
	{ 0x40, 0x2C, 0x40 },	// 4, 228
	{ 0x40, 0x2C, 0x3C },	// 5, 229
	{ 0x40, 0x2C, 0x34 },	// 6, 230
	{ 0x40, 0x2C, 0x30 },	// 7, 231
	{ 0x40, 0x2C, 0x2C },	// 8, 232
	{ 0x40, 0x30, 0x2C },	// 9, 233
	{ 0x40, 0x34, 0x2C },	// 10,234
	{ 0x40, 0x3C, 0x2C },	// 11,235
	{ 0x40, 0x40, 0x2C },	// 12,236
	{ 0x3C, 0x40, 0x2C },	// 13,237
	{ 0x34, 0x40, 0x2C },	// 14,238
	{ 0x30, 0x40, 0x2C },	// 15,239
	// row 15 (R)
	{ 0x2C, 0x40, 0x2C },	// 0, 240
	{ 0x2C, 0x40, 0x30 },	// 1, 241
	{ 0x2C, 0x40, 0x34 },	// 2, 242
	{ 0x2C, 0x40, 0x3C },	// 3, 243
	{ 0x2C, 0x40, 0x40 },	// 4, 244
	{ 0x2C, 0x3C, 0x40 },	// 5, 245
	{ 0x2C, 0x34, 0x40 },	// 6, 246
	{ 0x00, 0x00, 0x00 },	// 7, 247
	{ 0x00, 0x00, 0x00 },	// 8, 248 - black
	{ 0x00, 0x00, 0x00 },	// 9, 249 - black
	{ 0x00, 0x00, 0x00 },	// 10,250 - black
	{ 0x00, 0x00, 0x00 },	// 11,251 - black
	{ 0x00, 0x00, 0x00 },	// 12,252 - black
	{ 0x00, 0x00, 0x00 },	// 13,253 - black
	{ 0x00, 0x00, 0x00 },	// 14,254 - black
	{ 0x00, 0x00, 0x00 },	// 15,255 - black
};		// 768 bytes

#endif	// LCD_COLOR_FORMAT

#endif	// RGBCOLOR_AS_NUMBER==1

static uint8_t lcd1_buffer[LCD1_BUFFER_SZ];
static st7735_handle lcd1_handle = 0;

// general status
volatile struct op_status op_stat = { 0, 0 };

// current form data
uint8_t form_data[FORM_DATA_MAX_SZ];

AppState appState;

form_def form_test_text = { &formTestText_reset, &formTestText_onDraw, &formTestText_onButton };
form_def form_test_text_ru = { &formTestTextRU_reset, &formTestTextRU_onDraw, &formTestTextRU_onButton };
form_def form_test_image_wb = { &formTestImageWB_reset, &formTestImageWB_onDraw, &formTestImageWB_onButton };
form_def form_bench = { &formBench_reset, &formBench_onDraw, &formBench_onButton };

form_def* curr_form;

/* USER CODE END PV */

void SystemClock_Config(void);
static void MX_GPIO_Init(void);
static void MX_SPI1_Init(void);
static void MX_TIM2_Init(void);
static void MX_TIM3_Init(void);
/* USER CODE BEGIN PFP */

void lcd1_clearBuffer();

#if LCD_COLOR_FORMAT == COLOR_FORMAT_INDEX1BPP

static int8_t lcd1_setPixel_fb_1bpp(int16_t x, int16_t y, const uint8_t* raw_color);
static int8_t lcd1_syncBuffer_1bpp();

#elif LCD_COLOR_FORMAT == COLOR_FORMAT_INDEX4BPP

static int8_t lcd1_setPixel_fb_4bpp(int16_t x, int16_t y, const uint8_t* raw_color);
static int8_t lcd1_syncBuffer_4bpp();

#elif LCD_COLOR_FORMAT == COLOR_FORMAT_INDEX8BPP

static int8_t lcd1_setPixel_fb_8bpp(int16_t x, int16_t y, const uint8_t* raw_color);
static int8_t lcd1_syncBuffer_8bpp();

#elif LCD_COLOR_FORMAT == COLOR_FORMAT_RGB565

static int8_t lcd1_setPixel_fb_16bpp(int16_t x, int16_t y, const uint8_t* raw_color);
static int8_t lcd1_syncBuffer_16bpp();

#elif LCD_COLOR_FORMAT == COLOR_FORMAT_RGB888

static int8_t lcd1_setPixel_fb_24bpp(int16_t x, int16_t y, const uint8_t* raw_color);
static int8_t lcd1_syncBuffer_24bpp();

#endif

/* USER CODE END PFP */

int main(void)
{

  /* MCU Configuration--------------------------------------------------------*/

  /* Reset of all peripherals, Initializes the Flash interface and the Systick. */
  HAL_Init();

  /* Configure the system clock */
  SystemClock_Config();

  /* Initialize all configured peripherals */
  MX_GPIO_Init();
  MX_SPI1_Init();
  MX_TIM2_Init();
  MX_TIM3_Init();
  /* USER CODE BEGIN 2 */

#if 1
	// LCD Reset sequence
	HAL_GPIO_WritePin(LCD_RESET_GPIO_Port, LCD_RESET_Pin, GPIO_PIN_SET);
	HAL_Delay(120);		// delay to wait LCD initialization
	HAL_GPIO_WritePin(LCD_RESET_GPIO_Port, LCD_RESET_Pin, GPIO_PIN_RESET);
	HAL_Delay(1);		// reset impulse minimum is 10us length
	HAL_GPIO_WritePin(LCD_RESET_GPIO_Port, LCD_RESET_Pin, GPIO_PIN_SET);
	HAL_Delay(120);		// 5-120 ms LCD is initialized
#endif

	// Turn on LED1
	HAL_GPIO_WritePin(LED1_GPIO_Port, LED1_Pin, GPIO_PIN_SET);

	// Init ST7735 LCD
	lcd1_handle = st7735_init_hal(&hspi1, GPIOB, GPIO_PIN_6, GPIOC, GPIO_PIN_7,
			130, 161, ST7735_IPF_16BIT);
	uint8_t ret = lcd1_handle != 0 ? 0 : -1;
	if (ret != 0)
	{
		// LCD init failed, blink LED1 (PA3)
		while (1)
		{
			// Blink LED1
			HAL_GPIO_TogglePin(LED1_GPIO_Port, LED1_Pin);
			HAL_Delay(200);
			HAL_GPIO_TogglePin(LED1_GPIO_Port, LED1_Pin);
			HAL_Delay(200);
		}
	}

	memset((void*)&appState, 0, sizeof(AppState));

	uint8_t data[4] = { 0, 0, 0, 0 };
	ret = st7735_rdcmd(lcd1_handle, ST7735_CMD_RDDID, data, 4);
	if (0 != ret)
		printf("ST7735: failed to read DeviceID!\n");
	appState.devID = ((uint32_t)(data[0]) << 16) |
					 ((uint32_t)(data[1]) << 8) |
					  (uint32_t)(data[2]);

	appState.gfx_color_format = LCD_COLOR_FORMAT;
	appState.st7735_ipf = st7735_getipf(lcd1_handle);
	appState.form_data = form_data;
	appState.changed = APPSTATE_CHANGED_NEEDREDRAW;

	// Turn ON LCD Backlight
	HAL_TIM_PWM_Start(&htim2, TIM_CHANNEL_3);

	lcd1_clearBuffer();
	// Setup GFX module
#if LCD_COLOR_FORMAT == COLOR_FORMAT_INDEX1BPP
	setFuncSetPixelColor(&lcd1_setPixel_fb_1bpp);
#elif LCD_COLOR_FORMAT == COLOR_FORMAT_INDEX4BPP
	setFuncSetPixelColor(&lcd1_setPixel_fb_4bpp);
#elif LCD_COLOR_FORMAT == COLOR_FORMAT_INDEX8BPP
	setFuncSetPixelColor(&lcd1_setPixel_fb_8bpp);
#elif LCD_COLOR_FORMAT == COLOR_FORMAT_RGB565
	setFuncSetPixelColor(&lcd1_setPixel_fb_16bpp);
#elif LCD_COLOR_FORMAT == COLOR_FORMAT_RGB888
	setFuncSetPixelColor(&lcd1_setPixel_fb_24bpp);
#endif
	setColorFormat(LCD_COLOR_FORMAT);

	curr_form = &form_test_text;
	curr_form->reset_proc(&appState);

	// Turn off LED1
	HAL_GPIO_WritePin(LED1_GPIO_Port, LED1_Pin, GPIO_PIN_RESET);
	// Init OK, burn LED2
	HAL_GPIO_WritePin(LED2_GPIO_Port, LED2_Pin, GPIO_PIN_SET);

	__enable_irq();

  /* USER CODE END 2 */

  /* Infinite loop */
  while (1)
  {

    /* USER CODE BEGIN 3 */
		// Poll buttons/joystick
		if (op_stat.status & STATUS_BTN_RDY_Msk)
		{
			printf("btn=%u\n", op_stat.button_code);

			if ((op_stat.status & STATUS_BTN_PRE_Msk) == STATUS_BTN_PRE_Msk)
			{
				//curr_form->onButtonPress_proc(&appState, op_stat.button_code);
				curr_form->onButton_proc(&appState, op_stat.button_code);
			}
			else if ((op_stat.status & STATUS_BTN_REP_Msk) == STATUS_BTN_REP_Msk)
				curr_form->onButton_proc(&appState, op_stat.button_code);
			//else
			//	curr_form->onButtonRelease_proc(op_stat.button_code);		// not pressed, not repeated => released
			// Clear for next button event
			op_stat.status &= ~STATUS_BTN_RDY_Msk;
		}
		if (appState.changed & APPSTATE_CHANGED_FORM)
		{
			appState.changed &= ~APPSTATE_CHANGED_FORM;
			// запрошено переключение на другую форму
			switch (appState.form_code)
			{
				case FORM_TEXT_TEST:
					curr_form = &form_test_text;
					break;
				case FORM_TEXT_RU_TEST:
					curr_form = &form_test_text_ru;
					break;
				case FORM_WB_IMAGE_TEST:
					curr_form = &form_test_image_wb;
					break;
				case FORM_BENCH:
					curr_form = &form_bench;
					break;
				default:
					curr_form = &form_test_text;
					break;
			}
			curr_form->reset_proc(&appState);
			appState.changed |= APPSTATE_CHANGED_NEEDREDRAW;
		}
		if (curr_form == &form_bench) {
			appState.changed |= APPSTATE_CHANGED_NEEDREDRAW;
		}
		if (appState.changed & APPSTATE_CHANGED_NEEDREDRAW)
		{
			appState.changed &= ~APPSTATE_CHANGED_NEEDREDRAW;
			lcd1_clearBuffer();
			uint32_t t1 = HAL_GetTick();
			curr_form->onDraw_proc(&appState);
			appState.rendTime = HAL_GetTick() - t1;
			t1 = HAL_GetTick();
#if LCD_COLOR_FORMAT == COLOR_FORMAT_INDEX1BPP
			lcd1_syncBuffer_1bpp();
#elif LCD_COLOR_FORMAT == COLOR_FORMAT_INDEX4BPP
			lcd1_syncBuffer_4bpp();
#elif LCD_COLOR_FORMAT == COLOR_FORMAT_INDEX8BPP
			lcd1_syncBuffer_8bpp();
#elif LCD_COLOR_FORMAT == COLOR_FORMAT_RGB565
			lcd1_syncBuffer_16bpp();
#elif LCD_COLOR_FORMAT == COLOR_FORMAT_RGB888
			lcd1_syncBuffer_24bpp();
#endif
			appState.syncTime = HAL_GetTick() - t1;
		}
  }
  st7735_free(lcd1_handle);
  /* USER CODE END 3 */
}

void SystemClock_Config(void)
{
  RCC_OscInitTypeDef RCC_OscInitStruct = {0};
  RCC_ClkInitTypeDef RCC_ClkInitStruct = {0};

  /** Configure the main internal regulator output voltage
  */
  __HAL_RCC_PWR_CLK_ENABLE();
  __HAL_PWR_VOLTAGESCALING_CONFIG(PWR_REGULATOR_VOLTAGE_SCALE1);
  /** Initializes the RCC Oscillators according to the specified parameters
  * in the RCC_OscInitTypeDef structure.
  */
  RCC_OscInitStruct.OscillatorType = RCC_OSCILLATORTYPE_HSE;
  RCC_OscInitStruct.HSEState = RCC_HSE_ON;
  RCC_OscInitStruct.PLL.PLLState = RCC_PLL_ON;
  RCC_OscInitStruct.PLL.PLLSource = RCC_PLLSOURCE_HSE;
  RCC_OscInitStruct.PLL.PLLM = 4;
  RCC_OscInitStruct.PLL.PLLN = 180;
  RCC_OscInitStruct.PLL.PLLP = RCC_PLLP_DIV2;
  RCC_OscInitStruct.PLL.PLLQ = 2;
  RCC_OscInitStruct.PLL.PLLR = 2;
  if (HAL_RCC_OscConfig(&RCC_OscInitStruct) != HAL_OK)
  {
    Error_Handler();
  }
  /** Activate the Over-Drive mode
  */
  if (HAL_PWREx_EnableOverDrive() != HAL_OK)
  {
    Error_Handler();
  }
  /** Initializes the CPU, AHB and APB buses clocks
  */
  RCC_ClkInitStruct.ClockType = RCC_CLOCKTYPE_HCLK|RCC_CLOCKTYPE_SYSCLK
                              |RCC_CLOCKTYPE_PCLK1|RCC_CLOCKTYPE_PCLK2;
  RCC_ClkInitStruct.SYSCLKSource = RCC_SYSCLKSOURCE_PLLCLK;
  RCC_ClkInitStruct.AHBCLKDivider = RCC_SYSCLK_DIV1;
  RCC_ClkInitStruct.APB1CLKDivider = RCC_HCLK_DIV4;
  RCC_ClkInitStruct.APB2CLKDivider = RCC_HCLK_DIV2;

  if (HAL_RCC_ClockConfig(&RCC_ClkInitStruct, FLASH_LATENCY_5) != HAL_OK)
  {
    Error_Handler();
  }
}

static void MX_SPI1_Init(void)
{

  /* SPI1 parameter configuration*/
  hspi1.Instance = SPI1;
  hspi1.Init.Mode = SPI_MODE_MASTER;
  hspi1.Init.Direction = SPI_DIRECTION_1LINE;
  hspi1.Init.DataSize = SPI_DATASIZE_8BIT;
  hspi1.Init.CLKPolarity = SPI_POLARITY_LOW;
  hspi1.Init.CLKPhase = SPI_PHASE_1EDGE;
  hspi1.Init.NSS = SPI_NSS_SOFT;
  hspi1.Init.BaudRatePrescaler = SPI_BAUDRATEPRESCALER_8;
  hspi1.Init.FirstBit = SPI_FIRSTBIT_MSB;
  hspi1.Init.TIMode = SPI_TIMODE_DISABLE;
  hspi1.Init.CRCCalculation = SPI_CRCCALCULATION_DISABLE;
  hspi1.Init.CRCPolynomial = 10;
  if (HAL_SPI_Init(&hspi1) != HAL_OK)
  {
    Error_Handler();
  }

}

static void MX_TIM2_Init(void)
{

  TIM_ClockConfigTypeDef sClockSourceConfig = {0};
  TIM_MasterConfigTypeDef sMasterConfig = {0};
  TIM_OC_InitTypeDef sConfigOC = {0};

  htim2.Instance = TIM2;
  htim2.Init.Prescaler = 0;
  htim2.Init.CounterMode = TIM_COUNTERMODE_UP;
  htim2.Init.Period = 1000;
  htim2.Init.ClockDivision = TIM_CLOCKDIVISION_DIV1;
  htim2.Init.AutoReloadPreload = TIM_AUTORELOAD_PRELOAD_DISABLE;
  if (HAL_TIM_Base_Init(&htim2) != HAL_OK)
  {
    Error_Handler();
  }
  sClockSourceConfig.ClockSource = TIM_CLOCKSOURCE_INTERNAL;
  if (HAL_TIM_ConfigClockSource(&htim2, &sClockSourceConfig) != HAL_OK)
  {
    Error_Handler();
  }
  if (HAL_TIM_PWM_Init(&htim2) != HAL_OK)
  {
    Error_Handler();
  }
  sMasterConfig.MasterOutputTrigger = TIM_TRGO_RESET;
  sMasterConfig.MasterSlaveMode = TIM_MASTERSLAVEMODE_DISABLE;
  if (HAL_TIMEx_MasterConfigSynchronization(&htim2, &sMasterConfig) != HAL_OK)
  {
    Error_Handler();
  }
  sConfigOC.OCMode = TIM_OCMODE_PWM1;
  sConfigOC.Pulse = 50;
  sConfigOC.OCPolarity = TIM_OCPOLARITY_LOW;
  sConfigOC.OCFastMode = TIM_OCFAST_DISABLE;
  if (HAL_TIM_PWM_ConfigChannel(&htim2, &sConfigOC, TIM_CHANNEL_3) != HAL_OK)
  {
    Error_Handler();
  }
  HAL_TIM_MspPostInit(&htim2);

}

static void MX_TIM3_Init(void)
{

  TIM_ClockConfigTypeDef sClockSourceConfig = {0};
  TIM_MasterConfigTypeDef sMasterConfig = {0};

  htim3.Instance = TIM3;
  htim3.Init.Prescaler = 17999;
  htim3.Init.CounterMode = TIM_COUNTERMODE_UP;
  htim3.Init.Period = 999;
  htim3.Init.ClockDivision = TIM_CLOCKDIVISION_DIV1;
  htim3.Init.AutoReloadPreload = TIM_AUTORELOAD_PRELOAD_DISABLE;
  if (HAL_TIM_Base_Init(&htim3) != HAL_OK)
  {
    Error_Handler();
  }
  sClockSourceConfig.ClockSource = TIM_CLOCKSOURCE_INTERNAL;
  if (HAL_TIM_ConfigClockSource(&htim3, &sClockSourceConfig) != HAL_OK)
  {
    Error_Handler();
  }
  sMasterConfig.MasterOutputTrigger = TIM_TRGO_RESET;
  sMasterConfig.MasterSlaveMode = TIM_MASTERSLAVEMODE_DISABLE;
  if (HAL_TIMEx_MasterConfigSynchronization(&htim3, &sMasterConfig) != HAL_OK)
  {
    Error_Handler();
  }

}

static void MX_GPIO_Init(void)
{
  GPIO_InitTypeDef GPIO_InitStruct = {0};

  /* GPIO Ports Clock Enable */
  __HAL_RCC_GPIOC_CLK_ENABLE();
  __HAL_RCC_GPIOH_CLK_ENABLE();
  __HAL_RCC_GPIOA_CLK_ENABLE();
  __HAL_RCC_GPIOB_CLK_ENABLE();

  /*Configure GPIO pin Output Level */
  HAL_GPIO_WritePin(GPIOA, LED1_Pin|LED2_Pin, GPIO_PIN_RESET);

  /*Configure GPIO pin Output Level */
  HAL_GPIO_WritePin(LCD_DCX_GPIO_Port, LCD_DCX_Pin, GPIO_PIN_SET);

  /*Configure GPIO pin Output Level */
  HAL_GPIO_WritePin(LCD_RESET_GPIO_Port, LCD_RESET_Pin, GPIO_PIN_SET);

  /*Configure GPIO pin Output Level */
  HAL_GPIO_WritePin(LCD_CS_GPIO_Port, LCD_CS_Pin, GPIO_PIN_SET);

  /*Configure GPIO pin : B1_Pin */
  GPIO_InitStruct.Pin = B1_Pin;
  GPIO_InitStruct.Mode = GPIO_MODE_IT_FALLING;
  GPIO_InitStruct.Pull = GPIO_NOPULL;
  HAL_GPIO_Init(B1_GPIO_Port, &GPIO_InitStruct);

  /*Configure GPIO pins : LED1_Pin LED2_Pin LCD_RESET_Pin */
  GPIO_InitStruct.Pin = LED1_Pin|LED2_Pin|LCD_RESET_Pin;
  GPIO_InitStruct.Mode = GPIO_MODE_OUTPUT_PP;
  GPIO_InitStruct.Pull = GPIO_NOPULL;
  GPIO_InitStruct.Speed = GPIO_SPEED_FREQ_LOW;
  HAL_GPIO_Init(GPIOA, &GPIO_InitStruct);

  /*Configure GPIO pin : LCD_DCX_Pin */
  GPIO_InitStruct.Pin = LCD_DCX_Pin;
  GPIO_InitStruct.Mode = GPIO_MODE_OUTPUT_PP;
  GPIO_InitStruct.Pull = GPIO_NOPULL;
  GPIO_InitStruct.Speed = GPIO_SPEED_FREQ_VERY_HIGH;
  HAL_GPIO_Init(LCD_DCX_GPIO_Port, &GPIO_InitStruct);

  /*Configure GPIO pin : BT1_Pin */
  GPIO_InitStruct.Pin = BT1_Pin;
  GPIO_InitStruct.Mode = GPIO_MODE_IT_FALLING;
  GPIO_InitStruct.Pull = GPIO_NOPULL;
  HAL_GPIO_Init(BT1_GPIO_Port, &GPIO_InitStruct);

  /*Configure GPIO pins : BT3_Pin BT2_Pin */
  GPIO_InitStruct.Pin = BT3_Pin|BT2_Pin;
  GPIO_InitStruct.Mode = GPIO_MODE_IT_FALLING;
  GPIO_InitStruct.Pull = GPIO_NOPULL;
  HAL_GPIO_Init(GPIOB, &GPIO_InitStruct);

  /*Configure GPIO pin : LCD_CS_Pin */
  GPIO_InitStruct.Pin = LCD_CS_Pin;
  GPIO_InitStruct.Mode = GPIO_MODE_OUTPUT_PP;
  GPIO_InitStruct.Pull = GPIO_NOPULL;
  GPIO_InitStruct.Speed = GPIO_SPEED_FREQ_VERY_HIGH;
  HAL_GPIO_Init(LCD_CS_GPIO_Port, &GPIO_InitStruct);

  /* EXTI interrupt init*/
  HAL_NVIC_SetPriority(EXTI4_IRQn, 0, 0);
  HAL_NVIC_EnableIRQ(EXTI4_IRQn);

  HAL_NVIC_SetPriority(EXTI9_5_IRQn, 0, 0);
  HAL_NVIC_EnableIRQ(EXTI9_5_IRQn);

  HAL_NVIC_SetPriority(EXTI15_10_IRQn, 0, 0);
  HAL_NVIC_EnableIRQ(EXTI15_10_IRQn);

}

/* USER CODE BEGIN 4 */

void lcd1_clearBuffer()
{
	memset(lcd1_buffer, 0, sizeof(lcd1_buffer));
}

#if LCD_COLOR_FORMAT == COLOR_FORMAT_INDEX1BPP

static int8_t lcd1_setPixel_fb_1bpp(int16_t x, int16_t y, const uint8_t* raw_color)
{
	// In 1bpp color mode *raw_color is an integer in range 0-1
	if (x < 0 || x > 131 || y < 0 || y > 161)
		return -1;
	register uint8_t xoff = 7 - x % 8;
	//uint8_t* ptr = lcd1_buffer + y*16 + x/8;
	uint8_t* ptr = lcd1_buffer + (y << 4) + (x >> 3);
	if (*raw_color)
		*ptr |= (1 << xoff);		// white
	else
		*ptr &= ~(1 << xoff);		// black
	return 0;
}

static int8_t lcd1_syncBuffer_1bpp()
{
	return st7735_drawBitmap_1bpp(lcd1_handle, 0, 0, 128, 160, lcd1_buffer, sizeof(lcd1_buffer), lcd1_1bpp_palette);
}

#elif LCD_COLOR_FORMAT == COLOR_FORMAT_INDEX4BPP

static int8_t lcd1_setPixel_fb_4bpp(int16_t x, int16_t y, const uint8_t* raw_color)
{
	// In 4bpp color mode *raw_color is an integer in range 0-15
	if (x < 0 || x > 131 || y < 0 || y > 161)
		return -1;
	//uint8_t* ptr = lcd1_buffer + y*64 + x/2;
	uint8_t* ptr = lcd1_buffer + (y << 6) + (x >> 1);
	//uint8_t* ptr = lcd1_buffer + y*65 + x/2;
	if (x & 0x01)
		*ptr = (*ptr & 0xF0) | (*raw_color & 0x0F);
	else
		*ptr = (*ptr & 0x0F) | (*raw_color << 4);
	return 0;
}

static int8_t lcd1_syncBuffer_4bpp()
{
	return st7735_drawBitmap_4bpp(lcd1_handle, 0, 0, 128, 160, lcd1_buffer, sizeof(lcd1_buffer), lcd1_4bpp_palette);
}

#elif LCD_COLOR_FORMAT == COLOR_FORMAT_INDEX8BPP

static int8_t lcd1_setPixel_fb_8bpp(int16_t x, int16_t y, const uint8_t* raw_color)
{
	// In 8bpp color mode *raw_color is whole byte
	if (x < 0 || x > 131 || y < 0 || y > 161)
		return -1;
	//uint8_t* ptr = lcd1_buffer + y*128 + x;
	uint8_t* ptr = lcd1_buffer + (y << 7) + x;
	*ptr = *raw_color;
	return 0;
}

static int8_t lcd1_syncBuffer_8bpp()
{
	return st7735_drawBitmap_8bpp(lcd1_handle, 0, 0, 128, 160, lcd1_buffer, sizeof(lcd1_buffer), lcd1_8bpp_palette);
}

#elif LCD_COLOR_FORMAT == COLOR_FORMAT_RGB565

static int8_t lcd1_setPixel_fb_16bpp(int16_t x, int16_t y, const uint8_t* raw_color)
{
	// In 16bpp (R5B6G5) color mode raw_color is two bytes: |RRRRRGGG|GGGBBBBB|
	if (x < 0 || x > 131 || y < 0 || y > 161)
		return -1;
	//uint8_t* ptr = lcd1_buffer + (y*128 + x)*2;
	uint8_t* ptr = lcd1_buffer + (((y << 7) + x) << 1);
	*ptr++ = *raw_color++;
	*ptr = *raw_color;
	return 0;
}

static int8_t lcd1_syncBuffer_16bpp()
{
	return st7735_drawBitmap_16bpp(lcd1_handle, 0, 0, 128, 160, lcd1_buffer, sizeof(lcd1_buffer));
}

#elif LCD_COLOR_FORMAT == COLOR_FORMAT_RGB888

static int8_t lcd1_setPixel_fb_24bpp(int16_t x, int16_t y, const uint8_t* raw_color)
{
	// In 24bpp (R8B8G8) color mode raw_color is three bytes: |RRRRRRRR|GGGGGGGG|BBBBBBBB|
	if (x < 0 || x > 131 || y < 0 || y > 161)
		return -1;
	//uint8_t* ptr = lcd1_buffer + (y*128 + x)*3;
	uint8_t* ptr = lcd1_buffer + (((y << 7) + x)*3);
	*ptr++ = *raw_color++;
	*ptr++ = *raw_color++;
	*ptr = *raw_color;
	return 0;
}

static int8_t lcd1_syncBuffer_24bpp()
{
	return st7735_drawBitmap_24bpp(lcd1_handle, 0, 0, 128, 160, lcd1_buffer, sizeof(lcd1_buffer));
}

#endif	// LCD_COLOR_FORMAT

// for SWV ITM Data Console
int __io_putchar(int ch)
{
	return ITM_SendChar(ch);
}

void HAL_TIM_PeriodElapsedCallback(TIM_HandleTypeDef *htim)
{
	if ((op_stat.status & STATUS_BTN_CPT_Msk) != 0)
	{
		// handle contact bounce timeout
		op_stat.status = (op_stat.status & ~STATUS_BTN_CPT_Msk) | STATUS_BTN_RDY_Msk;
		// Stop timer (both contact bouncer and autorepeat)
		HAL_TIM_Base_Stop_IT(htim);
		if (op_stat.status & STATUS_BTN_PRE_Msk)
		{
			// check if any buttons still is pressed
			if ( (GPIOA->IDR & GPIO_IDR_ID10_Msk) == 0 ||	// BT1
				 (GPIOB->IDR & GPIO_IDR_ID5_Msk) == 0 ||	// BT2
				 (GPIOB->IDR & GPIO_IDR_ID4_Msk) == 0 )		// BT3
			{
				// any buttons in low state - pressed
				// Restart timer (TIM3) for autorepeat key events
				htim->Instance->CNT = 0;
				htim->Instance->ARR = 19999;
				//htim->Instance->CR1 |= TIM_CR1_CEN_Msk;
				HAL_TIM_Base_Start_IT(htim);
			}
			else
			{
				op_stat.status &= ~STATUS_BTN_REP_Msk;
			}
		}
	}
	else
	{
		// handle key event autorepeat
		if (op_stat.status & STATUS_BTN_PRE_Msk)
		{
			// check if any buttons already is not pressed
			if ( (GPIOA->IDR & GPIO_IDR_ID10_Msk) &&		// BT1
				 (GPIOB->IDR & GPIO_IDR_ID5_Msk) &&			// BT2
				 (GPIOB->IDR & GPIO_IDR_ID4_Msk) )			// BT3
				// all buttons in High state - unpressed
				op_stat.status &= ~(STATUS_BTN_PRE_Msk | STATUS_BTN_REP_Msk);
		}
		if (op_stat.status & STATUS_BTN_PRE_Msk)
		{
			// Button pressed, repeat key event
			op_stat.status |= STATUS_BTN_REP_Msk | STATUS_BTN_RDY_Msk;
			// Set repeat delay to 200ms
			htim->Instance->CNT = 0;
			htim->Instance->ARR = 1999;
		}
		else
		{
			// Button released
			op_stat.status |= STATUS_BTN_RDY_Msk;
			// Stop autorepeat timer
			HAL_TIM_Base_Stop_IT(&htim3);
		}
	}
}

void HAL_GPIO_EXTI_Callback(uint16_t GPIO_Pin)
{
	static uint8_t code;
	uint8_t btn_mask;
	switch (GPIO_Pin)
	{
	case GPIO_PIN_10:
		btn_mask = STATUS_BTN_CPT_BT1_Msk;
		break;
	case GPIO_PIN_5:
		btn_mask = STATUS_BTN_CPT_BT2_Msk;
		break;
	case GPIO_PIN_4:
		btn_mask = STATUS_BTN_CPT_BT3_Msk;
		break;
	default:
		return;
	}
	if ((op_stat.status & btn_mask) == 0)
	{
		op_stat.status = btn_mask;
		code = 0;
		if ((GPIOA->IDR & GPIO_IDR_ID10_Msk) == 0)		// BT1
			code |= 0x01;
		if ((GPIOB->IDR & GPIO_IDR_ID5_Msk) == 0)		// BT2
			code |= 0x02;
		if ((GPIOB->IDR & GPIO_IDR_ID4_Msk) == 0)		// BT3
			code |= 0x04;
		if (code > 0)
		{
			op_stat.button_code = code;
			op_stat.status |= STATUS_BTN_PRE_Msk;
		}
		// start delay timer to ignore contact bounce
		htim3.Instance->CNT = 0;
		htim3.Instance->ARR = 999;
		HAL_TIM_Base_Start_IT(&htim3);
	}
}

/* USER CODE END 4 */

void Error_Handler(void)
{
  __disable_irq();
  while (1)
  {
  }
}

/************************ (C) COPYRIGHT STMicroelectronics *****END OF FILE****/
